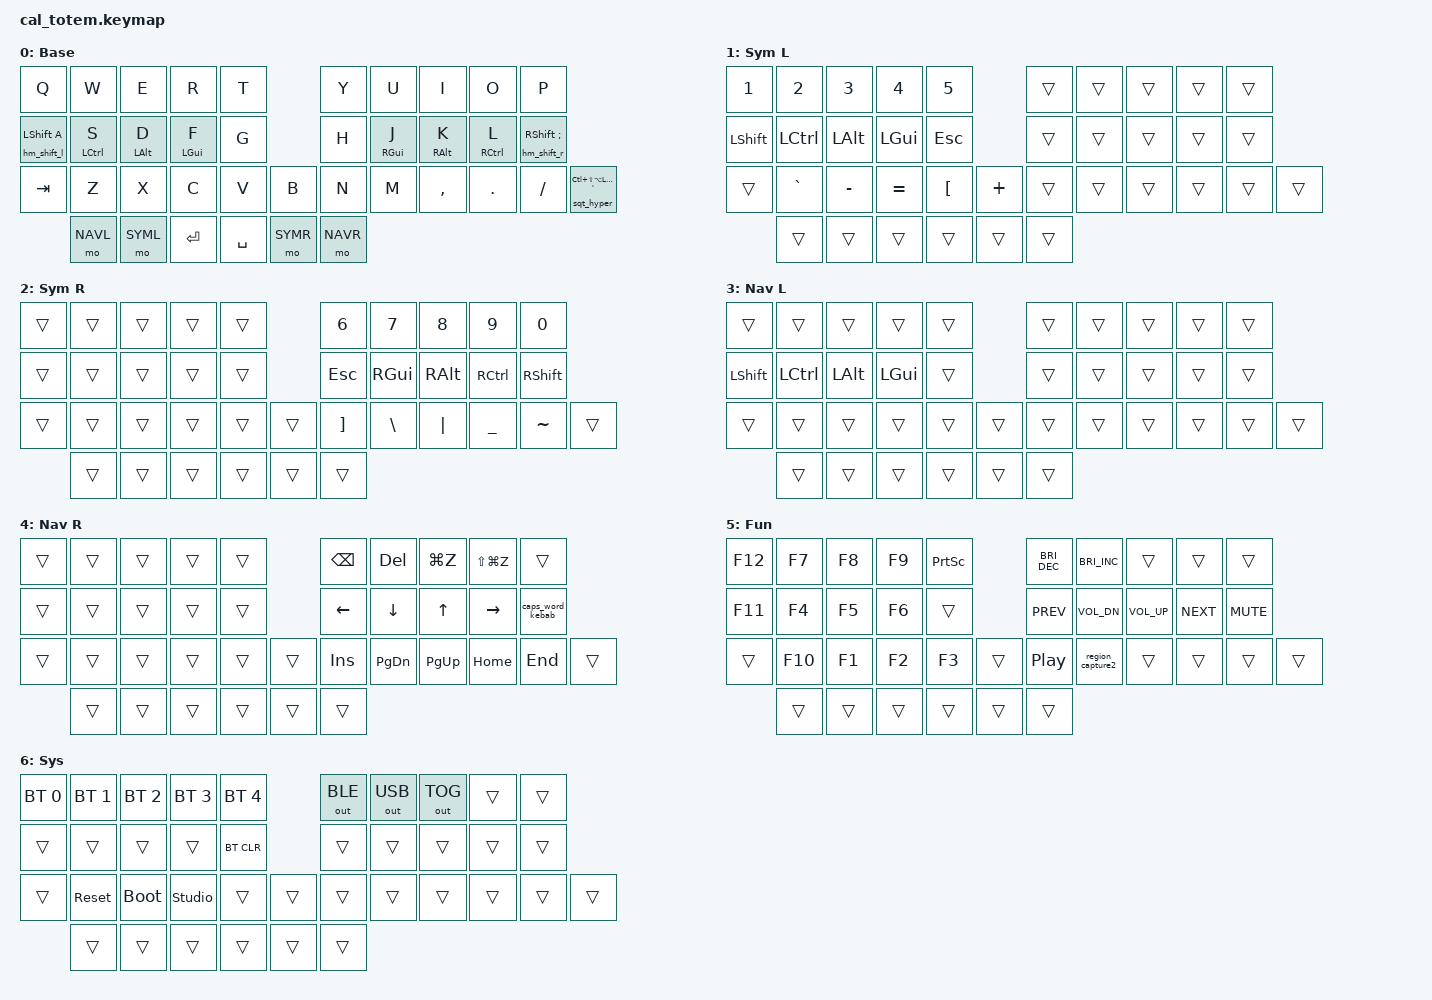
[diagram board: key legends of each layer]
/*
 * Variant C — "callum-core" (half-layer mods)
 *
 * Design lineage: Callum Oakley's 34-key Ferris keymap. The NAV and SYM
 * layers exist as *half-layers* on both sides: the left thumb activates the
 * left half of the layer (with its own real home-row mods), the right thumb
 * the right half. The half you are NOT holding stays transparent, so you can
 * always mod keys on the other half without obscuring them.
 *
 *   mod a right-half key (e.g. nav arrows):  hold LEFT half  + press its
 *   mod (left home row) + press the key (right half) — or hold both halves.
 *   Shift+7 (= &): hold both thumbs in one roll + left Shift + 7.
 *
 * Numbers live in the SYM halves (1–5 left, 6–0 right, callum-style two-row
 * entry — this variant deliberately tests that trade-off).
 * FUN = hold both SYM thumbs.  SYS = hold both NAV thumbs.
 * ESC/BSPC: combos (Q+W / J+K, N+M) + BSPC/DEL on the NAVR half.
 */

#include <behaviors.dtsi>
#include <dt-bindings/zmk/keys.h>
#include <dt-bindings/zmk/bt.h>
#include <dt-bindings/zmk/outputs.h>

#include "zmk-helpers/helper.h"
#include "zmk-helpers/key-labels/totem.h"

#define KEYS_L LT0 LT1 LT2 LT3 LT4 LM0 LM1 LM2 LM3 LM4 LB0 LB1 LB2 LB3 LB4 LB5
#define KEYS_R RT0 RT1 RT2 RT3 RT4 RM0 RM1 RM2 RM3 RM4 RB0 RB1 RB2 RB3 RB4 RB5
#define KEYS_T LH2 LH1 LH0 RH0 RH1 RH2

#include "../includes/behaviours_homerow_mods.dtsi"
#include "../includes/behaviours_variants.dtsi"

#define BASE 0
#define SYML 1
#define SYMR 2
#define NAVL 3
#define NAVR 4
#define FUN  5
#define SYS  6

#include "../includes/combos_variants.dtsi"

/ {
    conditional_layers {
        compatible = "zmk,conditional-layers";
        tri_fun {
            if-layers = <SYML SYMR>;
            then-layer = <FUN>;
        };
        tri_sys {
            if-layers = <NAVL NAVR>;
            then-layer = <SYS>;
        };
    };

    keymap {
        compatible = "zmk,keymap";

        //             ┌────┬────┬────┬────┬────┐        ┌────┬────┬────┬────┬────┐
        //             │ Q  │ W  │ E  │ R  │ T  │        │ Y  │ U  │ I  │ O  │ P  │
        //             ├────┼────┼────┼────┼────┤        ├────┼────┼────┼────┼────┤
        //             │ A* │ S* │ D* │ F* │ G  │        │ H  │ J* │ K* │ L* │ ;* │
        //        ┌────┼────┼────┼────┼────┼────┐        ├────┼────┼────┼────┼────┼────┐
        //        │TAB │ Z  │ X  │ C  │ V  │ B  │        │ N  │ M  │ ,  │ .  │ /  │'⌘  │
        //        └────┴────┴────┴────┼────┼────┼────┐┌───┼────┼────┼────┼────┼────┴────┘
        //                           │NAVL│SYML│ RET ││SPC │SYMR│NAVR│
        //                           └────┴────┴─────┘└────┴────┴────┘

        base_layer {
            display-name = "Base";
            label = "BASE";

            bindings = <
                &kp Q                 &kp W                &kp E                &kp R               &kp T                        &kp Y       &kp U                &kp I               &kp O                 &kp P
                &hm_shift_l LSHFT A   &hm_l LCTRL S        &hm_l LALT D         &hm_l LGUI F        &kp G                        &kp H       &hm_r RGUI J          &hm_r RALT K        &hm_r RCTRL L         &hm_shift_r RSHFT SEMICOLON
                &kp TAB               &kp Z                &kp X                &kp C               &kp V        &kp B            &kp N       &kp M                &kp COMMA            &kp DOT               &kp SLASH                    &sqt_hyper LC(LS(LA(LGUI))) SQT
                                        &mo NAVL   &mo SYML   &kp RET     &kp SPACE    &mo SYMR   &mo NAVR
            >;
        };

        // Left half of SYM: numbers 1-5 + real mods + ESC (callum keeps ESC
        // on both sym halves). Right half stays transparent (base letters).
        //             ┌────┬────┬────┬────┬────┐        ┌────┬────┬────┬────┬────┐
        //             │ 1  │ 2  │ 3  │ 4  │ 5  │        │    │    │    │    │    │
        //             ├────┼────┼────┼────┼────┤        ├────┼────┼────┼────┼────┤
        //             │⇧   │⌃   │⌥   │⌘   │ESC │        │    │    │    │    │    │
        //        ┌────┼────┼────┼────┼────┼────┐        ├────┼────┼────┼────┼────┼────┐
        //        │    │ `  │ -  │ =  │ [  │ +  │        │    │    │    │    │    │    │
        //        └────┴────┴────┴────┼────┼────┼────┐┌───┼────┼────┼────┼────┼────┴────┘
        //                           │    │    │    ││    │    │    │
        //                           └────┴────┴─────┘└────┴────┴────┘
        syml_layer {
            display-name = "Sym L";
            label = "SYML";

            bindings = <
                &kp N1    &kp N2    &kp N3    &kp N4    &kp N5                &trans    &trans    &trans    &trans    &trans
                &kp LSHFT  &kp LCTRL  &kp LALT  &kp LGUI  &kp ESC              &trans    &trans    &trans    &trans    &trans
                &trans    &kp GRAVE &kp MINUS &kp EQUAL &kp LBKT &kp PLUS     &trans    &trans    &trans    &trans    &trans    &trans
                                    &trans  &trans  &trans      &trans    &trans    &trans
            >;
        };

        // Right half of SYM: numbers 6-0 + real mods + ESC. Shift + a digit
        // (left half's shift while holding both) gives shifted symbols (&, %).
        //             ┌────┬────┬────┬────┬────┐        ┌────┬────┬────┬────┬────┐
        //             │    │    │    │    │    │        │ 6  │ 7  │ 8  │ 9  │ 0  │
        //             ├────┼────┼────┼────┼────┤        ├────┼────┼────┼────┼────┤
        //             │    │    │    │    │    │        │ESC │⌘   │⌥   │⌃   │⇧   │
        //        ┌────┼────┼────┼────┼────┼────┐        ├────┼────┼────┼────┼────┼────┐
        //        │    │    │    │    │    │    │        │ ]  │ \  │ |  │ _  │ ~  │    │
        //        └────┴────┴────┴────┼────┼────┼────┐┌───┼────┼────┼────┼────┼────┴────┘
        //                           │    │    │    ││    │    │    │
        //                           └────┴────┴─────┘└────┴────┴────┘
        symr_layer {
            display-name = "Sym R";
            label = "SYMR";

            bindings = <
                &trans    &trans    &trans    &trans    &trans                &kp N6    &kp N7     &kp N8     &kp N9     &kp N0
                &trans    &trans    &trans    &trans    &trans                &kp ESC   &kp RGUI   &kp RALT   &kp RCTRL   &kp RSHFT
                &trans    &trans    &trans    &trans    &trans    &trans      &kp RBKT  &kp BSLH   &kp PIPE   &kp UNDER   &kp TILDE    &trans
                                    &trans  &trans  &trans      &trans    &trans    &trans
            >;
        };

        // Left half of NAV: real mods on the home row only.
        //             ┌────┬────┬────┬────┬────┐        ┌────┬────┬────┬────┬────┐
        //             │    │    │    │    │    │        │    │    │    │    │    │
        //             ├────┼────┼────┼────┼────┤        ├────┼────┼────┼────┼────┤
        //             │⇧   │⌃   │⌥   │⌘   │    │        │    │    │    │    │    │
        //        ┌────┼────┼────┼────┼────┼────┐        ├────┼────┼────┼────┼────┼────┐
        //        │    │    │    │    │    │    │        │    │    │    │    │    │    │
        //        └────┴────┴────┴────┼────┼────┼────┐┌───┼────┼────┼────┼────┼────┴────┘
        //                           │    │    │    ││    │    │    │
        //                           └────┴────┴─────┘└────┴────┴────┘
        navl_layer {
            display-name = "Nav L";
            label = "NAVL";

            bindings = <
                &trans    &trans    &trans    &trans    &trans                &trans    &trans    &trans    &trans    &trans
                &kp LSHFT  &kp LCTRL  &kp LALT  &kp LGUI  &trans              &trans    &trans    &trans    &trans    &trans
                &trans    &trans    &trans    &trans    &trans    &trans      &trans    &trans    &trans    &trans    &trans    &trans
                                    &trans  &trans  &trans      &trans    &trans    &trans
            >;
        };

        // Right half of NAV: BSPC/DEL/undo/redo + arrows + caps-word.
        //             ┌────┬────┬────┬────┬────┐        ┌─────┬─────┬─────┬─────┬─────┐
        //             │    │    │    │    │    │        │BSPC │ DEL │UNDO │REDO │     │
        //             ├────┼────┼────┼────┼────┤        ├─────┼─────┼─────┼─────┼─────┤
        //             │    │    │    │    │    │        │ ←   │ ↓   │ ↑   │ →   │CAPS │
        //        ┌────┼────┼────┼────┼────┼────┐        ├─────┼─────┼─────┼─────┼─────┼─────┐
        //        │    │    │    │    │    │    │        │ INS │PGDN │PGUP │HOME │END  │     │
        //        └────┴────┴────┴────┼────┼────┼────┐┌───┼─────┼─────┼─────┼─────┴─────┴─────┘
        //                           │    │    │    ││    │     │     │
        //                           └────┴────┴─────┘└────┴─────┴─────┘
        navr_layer {
            display-name = "Nav R";
            label = "NAVR";

            bindings = <
                &trans    &trans    &trans    &trans    &trans                &kp BSPC    &kp DEL     &kp LG(Z)   &kp LS(LG(Z))   &trans
                &trans    &trans    &trans    &trans    &trans                &kp LEFT    &kp DOWN    &kp UP      &kp RIGHT       &caps_word_kebab
                &trans    &trans    &trans    &trans    &trans    &trans      &kp INS     &kp PG_DN   &kp PG_UP   &kp HOME        &kp END     &trans
                                    &trans  &trans  &trans      &trans    &trans    &trans
            >;
        };

        // Hold both SYM thumbs together: F-keys left, media right.
        fun_layer {
            display-name = "Fun";
            label = "FUN";

            bindings = <
                &kp F12   &kp F7   &kp F8   &kp F9   &kp PSCRN              &kp C_BRI_DEC    &kp C_BRI_INC   &trans    &trans    &trans
                &kp F11   &kp F4   &kp F5   &kp F6   &trans                 &kp C_PREV       &kp C_VOL_DN   &kp C_VOL_UP  &kp C_NEXT   &kp C_MUTE
                &trans    &kp F10  &kp F1   &kp F2   &kp F3     &trans      &kp C_PP         &region_capture2  &trans   &trans    &trans    &trans
                                    &trans  &trans  &trans      &trans    &trans    &trans
            >;
        };

        // Hold both NAV thumbs together: BT / outputs / reset / studio.
        sys_layer {
            display-name = "Sys";
            label = "SYS";

            bindings = <
                &bt BT_SEL 0    &bt BT_SEL 1    &bt BT_SEL 2    &bt BT_SEL 3    &bt BT_SEL 4          &out OUT_BLE     &out OUT_USB     &out OUT_TOG     &trans    &trans
                &trans          &trans          &trans          &trans          &bt BT_CLR           &trans           &trans           &trans           &trans    &trans
                &trans          &sys_reset      &bootloader     &studio_unlock  &trans          &trans &trans           &trans           &trans           &trans    &trans    &trans
                                                &trans          &trans          &trans                 &trans           &trans           &trans
            >;
        };
    };
};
